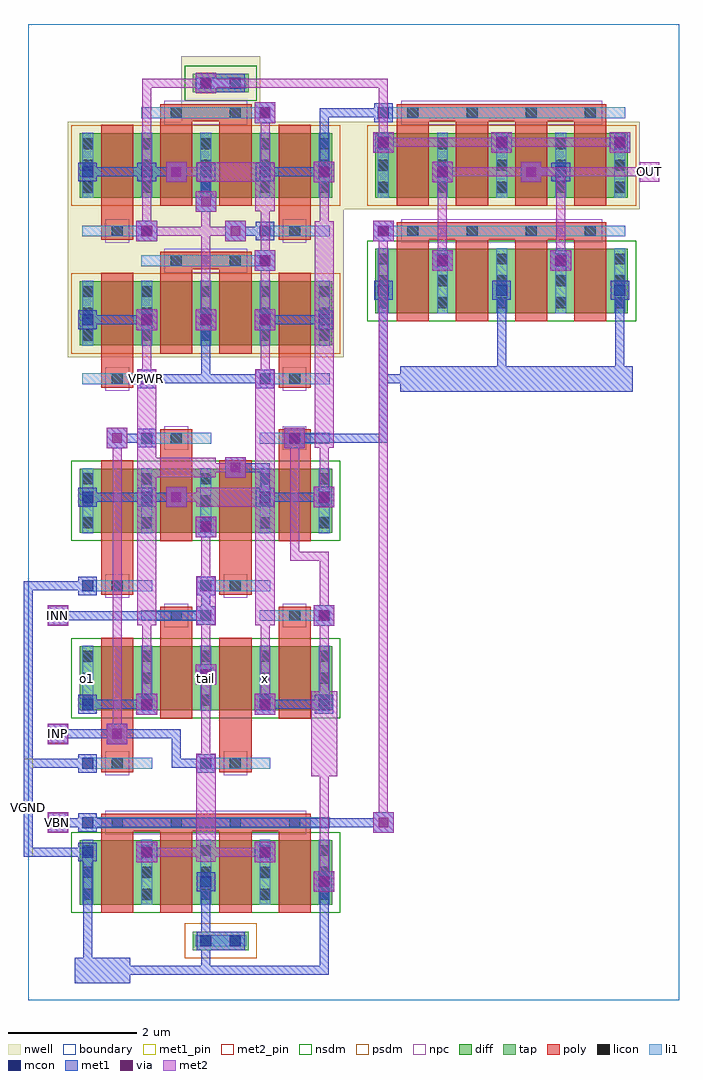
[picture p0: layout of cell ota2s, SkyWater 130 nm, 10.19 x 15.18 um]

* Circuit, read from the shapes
.subckt ota2s INN INP OUT VBN VGND VPWR o1 tail x
XM1 tail VBN VGND VGND sky130_fd_pr__nfet_01v8 w=1 l=0.5 m=4
XM2 o1 VGND o1 VGND sky130_fd_pr__nfet_01v8 w=1 l=0.5 m=2
XM3 x VGND x VGND sky130_fd_pr__nfet_01v8 w=1 l=0.5 m=2
XM4 tail INN o1 VGND sky130_fd_pr__nfet_01v8 w=1 l=0.5 m=2
XM5 tail INP x VGND sky130_fd_pr__nfet_01v8 w=1 l=0.5 m=2
XM6 OUT VBN VGND VGND sky130_fd_pr__nfet_01v8 w=1 l=0.5 m=4
XM7 o1 VPWR o1 VPWR sky130_fd_pr__pfet_01v8 w=1 l=0.5 m=2
XM8 x VPWR x VPWR sky130_fd_pr__pfet_01v8 w=1 l=0.5 m=2
XM9 VPWR x o1 VPWR sky130_fd_pr__pfet_01v8 w=1 l=0.5 m=2
XM10 VPWR x x VPWR sky130_fd_pr__pfet_01v8 w=1 l=0.5 m=2
XM11 OUT o1 VPWR VPWR sky130_fd_pr__pfet_01v8 w=1 l=0.5 m=4
.ends

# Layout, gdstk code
import gdstk
lib = gdstk.Library(unit=1e-6, precision=1e-09)
def R(c, l, rs):  # rectangles x0, y0, x1, y1
    for r in rs: c.add(gdstk.rectangle(r[:2], r[2:], *l))
def A(c, l, x, y, w, h, nx, ny, dx, dy):  # array of equal rectangles
    R(c, l, [(x+i*dx, y+j*dy, x+i*dx+w, y+j*dy+h) for i in range(nx) for j in range(ny)])
nwell = (64, 20)
diff = (65, 20)
tap = (65, 44)
poly = (66, 20)
licon = (66, 44)
li1 = (67, 20)
mcon = (67, 44)
met1_pin = (68, 16)
met1 = (68, 20)
via = (68, 44)
met2_pin = (69, 16)
met2 = (69, 20)
nsdm = (93, 44)
psdm = (94, 20)
npc = (95, 20)
boundary = (235, 4)

ota2s = lib.new_cell('ota2s')
R(ota2s, nwell, [(0.615,10,4.905,12.3), (0.615,12.3,9.505,13.66), (2.375,13.66,3.605,14.68)])
R(ota2s, diff, [(0.795,1.485,4.725,2.485), (0.795,4.505,4.725,5.505), (0.795,7.265,4.725,8.265), (0.795,10.18,4.725,11.18), (5.395,10.685,9.325,11.685), (0.795,12.48,4.725,13.48), (5.395,12.48,9.325,13.48)])
R(ota2s, tap, [(2.555,0.775,3.425,1.065), (2.555,14.115,3.425,14.405)])
A(ota2s, poly, 1.13, 1.355, 0.5, 1.405, 4, 1, 0.92, 0)
A(ota2s, poly, 5.73, 10.555, 0.5, 1.405, 4, 1, 0.92, 0)
A(ota2s, poly, 5.73, 12.35, 0.5, 1.45, 4, 1, 0.92, 0)
R(ota2s, poly, [(1.13,2.625,4.39,2.895), (1.13,3.545,1.63,3.815), (2.97,3.545,3.47,3.815), (1.13,3.68,1.63,5.635), (2.97,3.68,3.47,5.635), (2.05,4.375,2.55,5.98), (3.89,4.375,4.39,5.98), (2.05,5.845,2.55,6.115), (3.89,5.845,4.39,6.115), (1.13,6.305,1.63,6.575), (2.97,6.305,3.47,6.575), (1.13,6.44,1.63,8.395), (2.97,6.44,3.47,8.395), (2.05,7.135,2.55,8.74), (3.89,7.135,4.39,8.74), (2.05,8.605,2.55,8.875), (3.89,8.605,4.39,8.875), (1.13,9.525,1.63,9.795), (3.89,9.525,4.39,9.795), (1.13,9.66,1.63,11.31), (3.89,9.66,4.39,11.31), (2.05,10.05,2.55,11.5), (2.97,10.05,3.47,11.5), (2.05,11.365,3.47,11.635), (1.13,11.825,1.63,12.095), (3.89,11.825,4.39,12.095), (5.73,11.825,8.99,12.095), (1.13,11.96,1.63,13.61), (3.89,11.96,4.39,13.61), (2.05,12.35,2.55,13.8), (2.97,12.35,3.47,13.8), (2.05,13.665,3.47,13.935), (5.73,13.665,8.99,13.935)])
A(ota2s, licon, 3.135, 0.835, 0.17, 0.17, 1, 3, 0, 2.76)
A(ota2s, licon, 0.835, 1.56, 0.17, 0.17, 5, 3, 0.92, 0.34)
A(ota2s, licon, 1.295, 2.675, 0.17, 0.17, 4, 1, 0.92, 0)
A(ota2s, licon, 0.835, 4.58, 0.17, 0.17, 5, 3, 0.92, 0.34)
A(ota2s, licon, 2.215, 5.895, 0.17, 0.17, 1, 3, 0, 2.76)
A(ota2s, licon, 0.835, 7.34, 0.17, 0.17, 5, 3, 0.92, 0.34)
A(ota2s, licon, 0.835, 10.255, 0.17, 0.17, 5, 3, 0.92, 0.34)
A(ota2s, licon, 5.435, 10.76, 0.17, 0.17, 5, 3, 0.92, 0.34)
A(ota2s, licon, 5.895, 11.875, 0.17, 0.17, 4, 2, 0.92, 1.84)
A(ota2s, licon, 0.835, 12.555, 0.17, 0.17, 10, 3, 0.92, 0.34)
R(ota2s, licon, [(2.675,0.835,2.845,1.005), (1.295,3.595,1.465,3.765), (4.055,5.895,4.225,6.065), (1.295,6.355,1.465,6.525), (4.055,8.655,4.225,8.825), (1.295,9.575,1.465,9.745), (4.055,9.575,4.225,9.745), (3.135,11.415,3.305,11.585), (1.295,11.875,1.465,12.045), (4.055,11.875,4.225,12.045), (2.215,13.715,2.385,13.885), (3.135,13.715,3.305,13.885), (2.675,14.175,2.845,14.345), (3.135,14.175,3.305,14.345)])
A(ota2s, li1, 0.835, 1.48, 0.17, 1.01, 5, 2, 0.92, 3.02)
A(ota2s, li1, 0.835, 7.26, 0.17, 1.01, 5, 2, 0.92, 2.915)
A(ota2s, li1, 5.435, 10.68, 0.17, 1.01, 5, 1, 0.92, 0)
A(ota2s, li1, 0.835, 12.475, 0.17, 1.01, 10, 1, 0.92, 0)
R(ota2s, li1, [(2.595,0.835,3.385,1.005), (0.835,2.675,4.685,2.845), (0.835,3.595,1.925,3.765), (2.675,3.595,3.765,3.765), (1.755,5.895,2.845,6.065), (3.595,5.895,4.685,6.065), (0.835,6.355,1.925,6.525), (2.675,6.355,3.765,6.525), (1.755,8.655,2.845,8.825), (3.595,8.655,4.685,8.825), (0.835,9.575,1.925,9.745), (3.595,9.575,4.685,9.745), (1.755,11.415,3.765,11.585), (0.835,11.875,1.925,12.045), (3.595,11.875,4.685,12.045), (5.435,11.875,9.285,12.045), (1.755,13.715,3.765,13.885), (5.435,13.715,9.285,13.885), (2.595,14.175,3.385,14.345)])
A(ota2s, mcon, 0.835, 2.675, 0.17, 0.17, 1, 3, 0, 0.92)
A(ota2s, mcon, 1.755, 7.735, 0.17, 0.17, 1, 3, 0, 0.92)
A(ota2s, mcon, 3.595, 7.735, 0.17, 0.17, 1, 3, 0, 1.84)
A(ota2s, mcon, 0.835, 10.495, 0.17, 0.17, 5, 2, 0.92, 2.3)
A(ota2s, mcon, 5.435, 10.955, 0.17, 0.17, 3, 2, 1.84, 2.3)
A(ota2s, mcon, 1.755, 11.875, 0.17, 0.17, 3, 1, 1.84, 0)
R(ota2s, mcon, [(2.675,0.835,2.845,1.005), (3.135,0.835,3.305,1.005), (2.675,1.755,2.845,1.925), (4.515,1.755,4.685,1.925), (0.835,2.215,1.005,2.385), (1.755,2.215,1.925,2.385), (3.595,2.215,3.765,2.385), (2.675,3.595,2.845,3.765), (1.755,4.515,1.925,4.685), (3.595,4.515,3.765,4.685), (4.515,4.515,4.685,4.685), (2.675,4.975,2.845,5.145), (2.675,5.895,2.845,6.065), (4.515,5.895,4.685,6.065), (0.835,6.355,1.005,6.525), (2.675,6.355,2.845,6.525), (2.675,7.275,2.845,7.445), (0.835,7.735,1.005,7.905), (4.515,7.735,4.685,7.905), (4.055,8.655,4.225,8.825), (6.355,11.415,6.525,11.585), (8.195,11.415,8.365,11.585), (6.355,12.795,6.525,12.965), (8.195,12.795,8.365,12.965), (3.595,13.715,3.765,13.885), (5.435,13.715,5.605,13.885), (2.675,14.175,2.845,14.345), (3.135,14.175,3.305,14.345)])
R(ota2s, met1_pin, [(-0.07,2.23,0.07,3.75), (1.695,9.515,1.985,9.805)])
A(ota2s, met1, 0.775, 2.615, 0.29, 0.29, 1, 3, 0, 0.92)
A(ota2s, met1, 1.695, 7.675, 0.29, 0.29, 1, 3, 0, 0.92)
A(ota2s, met1, 3.535, 7.675, 0.29, 0.29, 1, 3, 0, 1.84)
A(ota2s, met1, 1.68, 10.42, 0.32, 0.32, 3, 1, 0.92, 0)
A(ota2s, met1, 0.775, 10.435, 0.29, 0.29, 5, 2, 0.92, 2.3)
A(ota2s, met1, 5.375, 10.895, 0.29, 0.29, 3, 2, 1.84, 2.3)
A(ota2s, met1, 1.695, 11.815, 0.29, 0.29, 3, 1, 1.84, 0)
A(ota2s, met1, 5.36, 13.18, 0.32, 0.32, 3, 1, 1.84, 0)
R(ota2s, met1, [(0.72,0.26,1.58,0.66), (0.85,0.39,0.99,2.37), (1.31,0.39,2.83,0.53), (2.69,0.39,4.67,0.53), (2.69,0.39,2.83,0.99), (4.53,0.39,4.67,1.91), (2.615,0.775,3.365,1.065), (2.69,0.85,2.83,1.91), (2.69,0.85,2.83,0.99), (4.44,1.68,4.76,2), (2.615,1.695,2.905,1.985), (4.455,1.695,4.745,1.985), (1.68,2.14,2,2.46), (3.52,2.14,3.84,2.46), (0.775,2.155,1.065,2.445), (1.695,2.155,1.985,2.445), (3.535,2.155,3.825,2.445), (-0.07,2.23,0.99,2.37), (-0.07,2.23,0.07,3.75), (0.3,2.6,0.62,2.92), (5.36,2.6,5.68,2.92), (0.39,2.69,0.99,2.83), (0.85,2.69,5.59,2.83), (2.615,3.535,2.905,3.825), (-0.07,3.61,0.99,3.75), (-0.07,3.61,0.07,6.51), (2.23,3.61,2.83,3.75), (2.23,3.61,2.37,4.21), (0.3,3.98,0.62,4.3), (1.22,3.98,1.54,4.3), (0.39,4.07,2.37,4.21), (1.68,4.44,2,4.76), (3.52,4.44,3.84,4.76), (1.695,4.455,1.985,4.745), (3.535,4.455,3.825,4.745), (4.455,4.455,4.745,4.745), (0.85,4.53,1.91,4.67), (3.61,4.53,4.67,4.67), (2.6,4.9,2.92,5.22), (2.615,4.915,2.905,5.205), (0.3,5.82,0.62,6.14), (4.44,5.82,4.76,6.14), (2.615,5.835,2.905,6.125), (4.455,5.835,4.745,6.125), (0.39,5.91,2.83,6.05), (2.69,5.91,2.83,6.51), (0.775,6.295,1.065,6.585), (2.615,6.295,2.905,6.585), (-0.07,6.37,0.99,6.51), (2.6,7.2,2.92,7.52), (2.615,7.215,2.905,7.505), (2.14,7.66,2.46,7.98), (4.44,7.66,4.76,7.98), (0.775,7.675,1.065,7.965), (4.455,7.675,4.745,7.965), (0.85,7.75,1.91,7.89), (1.77,7.75,2.37,7.89), (3.61,7.75,4.67,7.89), (3.61,7.75,3.75,8.35), (3.06,8.12,3.38,8.44), (3.15,8.21,3.75,8.35), (1.22,8.58,1.54,8.9), (3.98,8.58,4.3,8.9), (3.995,8.595,4.285,8.885), (1.31,8.67,1.91,8.81), (4.07,8.67,5.59,8.81), (5.45,8.67,5.59,11.11), (5.78,9.46,7.56,9.86), (7.16,9.46,9.4,9.86), (1.77,9.59,2.83,9.73), (2.69,9.59,3.75,9.73), (2.69,9.59,2.83,10.65), (5.45,9.59,6.05,9.73), (7.29,9.59,7.43,11.11), (9.13,9.59,9.27,11.11), (0.85,10.51,1.91,10.65), (3.61,10.51,4.67,10.65), (3.52,11.34,3.84,11.66), (6.28,11.34,6.6,11.66), (8.12,11.34,8.44,11.66), (6.295,11.355,6.585,11.645), (8.135,11.355,8.425,11.645), (1.68,11.8,2,12.12), (3.06,11.8,3.38,12.12), (5.36,11.8,5.68,12.12), (3.15,11.89,3.75,12.03), (2.6,12.26,2.92,12.58), (2.69,12.35,2.83,12.95), (2.14,12.72,2.46,13.04), (4.44,12.72,4.76,13.04), (6.28,12.72,6.6,13.04), (7.66,12.72,7.98,13.04), (6.295,12.735,6.585,13.025), (8.135,12.735,8.425,13.025), (0.85,12.81,1.91,12.95), (1.77,12.81,2.37,12.95), (3.61,12.81,4.67,12.95), (4.53,12.81,4.67,13.87), (7.75,12.81,8.35,12.95), (3.52,13.64,3.84,13.96), (3.535,13.655,3.825,13.945), (5.375,13.655,5.665,13.945), (4.53,13.73,5.59,13.87), (2.6,14.1,2.92,14.42), (2.615,14.115,3.365,14.405), (2.69,14.19,2.83,14.33)])
A(ota2s, via, 1.765, 10.505, 0.15, 0.15, 3, 1, 0.92, 0)
A(ota2s, via, 5.445, 13.265, 0.15, 0.15, 3, 1, 1.84, 0)
R(ota2s, via, [(4.525,1.765,4.675,1.915), (1.765,2.225,1.915,2.375), (3.605,2.225,3.755,2.375), (0.385,2.685,0.535,2.835), (5.445,2.685,5.595,2.835), (0.385,4.065,0.535,4.215), (1.305,4.065,1.455,4.215), (1.765,4.525,1.915,4.675), (3.605,4.525,3.755,4.675), (2.685,4.985,2.835,5.135), (0.385,5.905,0.535,6.055), (4.525,5.905,4.675,6.055), (2.685,7.285,2.835,7.435), (2.225,7.745,2.375,7.895), (4.525,7.745,4.675,7.895), (3.145,8.205,3.295,8.355), (1.305,8.665,1.455,8.815), (4.065,8.665,4.215,8.815), (3.605,11.425,3.755,11.575), (6.365,11.425,6.515,11.575), (8.205,11.425,8.355,11.575), (1.765,11.885,1.915,12.035), (3.145,11.885,3.295,12.035), (5.445,11.885,5.595,12.035), (2.685,12.345,2.835,12.495), (2.225,12.805,2.375,12.955), (4.525,12.805,4.675,12.955), (6.365,12.805,6.515,12.955), (7.745,12.805,7.895,12.955), (3.605,13.725,3.755,13.875), (2.685,14.185,2.835,14.335)])
R(ota2s, met2_pin, [(0.31,2.61,0.61,2.91), (0.31,3.99,0.61,4.29), (0.31,5.83,0.61,6.13), (9.51,12.73,9.81,13.03)])
A(ota2s, met2, 3.61, 9.59, 0.14, 1.06, 1, 3, 0, 0.92)
A(ota2s, met2, 1.68, 10.42, 0.32, 0.32, 3, 1, 0.92, 0)
A(ota2s, met2, 5.36, 13.18, 0.32, 0.32, 3, 1, 1.84, 0)
R(ota2s, met2, [(4.44,1.68,4.76,2), (4.53,1.77,4.67,3.75), (1.68,2.14,2,2.46), (3.52,2.14,3.84,2.46), (2.61,2.15,2.91,3.83), (1.77,2.23,2.83,2.37), (2.69,2.23,3.75,2.37), (0.3,2.6,0.62,2.92), (5.36,2.6,5.68,2.92), (0.31,2.61,0.61,2.91), (0.39,2.69,0.53,2.83), (5.45,2.69,5.59,12.03), (4.4,3.48,4.8,4.8), (2.69,3.61,2.83,5.13), (0.3,3.98,0.62,4.3), (1.22,3.98,1.54,4.3), (0.31,3.99,0.61,4.29), (0.39,4.07,0.53,4.21), (1.31,4.07,1.45,8.81), (1.68,4.44,2,4.76), (3.52,4.44,3.84,4.76), (1.77,4.53,1.91,6.05), (3.61,4.53,3.75,6.05), (4.53,4.53,4.67,6.05), (2.6,4.9,2.92,5.22), (2.69,4.99,2.83,6.05), (0.3,5.82,0.62,6.14), (4.44,5.82,4.76,6.14), (0.31,5.83,0.61,6.13), (1.69,5.83,1.99,9.81), (2.61,5.83,2.91,6.59), (3.53,5.83,3.83,9.81), (0.39,5.91,0.53,6.05), (4.53,5.91,4.67,6.97), (2.69,6.37,2.83,7.43), (4.07,6.83,4.67,6.97), (4.07,6.83,4.21,8.81), (2.6,7.2,2.92,7.52), (2.14,7.66,2.46,7.98), (4.44,7.66,4.76,7.98), (2.61,7.67,3.83,7.97), (2.23,7.75,2.83,7.89), (4.53,7.75,4.67,8.81), (3.06,8.12,3.38,8.44), (1.69,8.13,2.91,8.43), (2.69,8.21,3.29,8.35), (1.22,8.58,1.54,8.9), (3.98,8.58,4.3,8.9), (4.45,8.59,4.75,12.11), (1.77,9.59,1.91,10.65), (2.69,10.51,2.83,12.49), (3.52,11.34,3.84,11.66), (6.28,11.34,6.6,11.66), (8.12,11.34,8.44,11.66), (6.37,11.43,6.51,12.95), (8.21,11.43,8.35,12.95), (1.68,11.8,2,12.12), (3.06,11.8,3.38,12.12), (5.36,11.8,5.68,12.12), (1.77,11.89,2.83,12.03), (1.77,11.89,1.91,14.33), (2.69,11.89,3.29,12.03), (4.53,11.89,4.67,12.95), (2.6,12.26,2.92,12.58), (3.53,12.27,3.83,13.03), (2.14,12.72,2.46,13.04), (4.44,12.72,4.76,13.04), (6.28,12.72,6.6,13.04), (7.66,12.72,7.98,13.04), (2.61,12.73,3.83,13.03), (9.51,12.73,9.81,13.03), (2.23,12.81,2.83,12.95), (3.61,12.81,3.75,13.87), (6.37,12.81,7.89,12.95), (7.75,12.81,9.73,12.95), (9.59,12.81,9.73,12.95), (5.45,13.27,5.59,14.33), (5.45,13.27,7.43,13.41), (7.29,13.27,9.27,13.41), (3.52,13.64,3.84,13.96), (2.6,14.1,2.92,14.42), (1.77,14.19,2.83,14.33), (2.69,14.19,5.59,14.33)])
R(ota2s, nsdm, [(0.67,1.36,4.85,2.61), (0.67,4.38,4.85,5.63), (0.67,7.14,4.85,8.39), (5.27,10.56,9.45,11.81), (2.43,13.99,3.55,14.53)])
R(ota2s, psdm, [(2.43,0.65,3.55,1.19), (0.67,10.055,4.85,11.305), (0.67,12.355,4.85,13.605), (5.27,12.355,9.45,13.605)])
R(ota2s, npc, [(1.195,2.575,4.325,2.945), (1.195,3.495,1.565,3.865), (3.035,3.495,3.405,3.865), (2.115,5.795,2.485,6.165), (3.955,5.795,4.325,6.165), (1.195,6.255,1.565,6.625), (3.035,6.255,3.405,6.625), (2.115,8.555,2.485,8.925), (3.955,8.555,4.325,8.925), (1.195,9.475,1.565,9.845), (3.955,9.475,4.325,9.845), (2.115,11.315,3.405,11.685), (1.195,11.775,1.565,12.145), (3.955,11.775,4.325,12.145), (5.795,11.775,8.925,12.145), (2.115,13.615,3.405,13.985), (5.795,13.615,8.925,13.985)])
R(ota2s, boundary, [(0,0,10.12,15.18)])
ota2s.add(gdstk.Label('o1', (0.92,5.005), layer=67, texttype=5))
ota2s.add(gdstk.Label('tail', (2.76,5.005), layer=67, texttype=5))
ota2s.add(gdstk.Label('x', (3.68,5.005), layer=67, texttype=5))
ota2s.add(gdstk.Label('VPWR', (1.84,9.66), layer=68, texttype=5))
ota2s.add(gdstk.Label('VGND', (0,2.99), layer=68, texttype=5))
ota2s.add(gdstk.Label('INP', (0.46,4.14), layer=69, texttype=5))
ota2s.add(gdstk.Label('INN', (0.46,5.98), layer=69, texttype=5))
ota2s.add(gdstk.Label('VBN', (0.46,2.76), layer=69, texttype=5))
ota2s.add(gdstk.Label('OUT', (9.66,12.88), layer=69, texttype=5))
ota2s.add(gdstk.Label('VPWR', (1.84,9.66), layer=68, texttype=16))
ota2s.add(gdstk.Label('VGND', (0,2.99), layer=68, texttype=16))
ota2s.add(gdstk.Label('INP', (0.46,4.14), layer=69, texttype=16))
ota2s.add(gdstk.Label('INN', (0.46,5.98), layer=69, texttype=16))
ota2s.add(gdstk.Label('VBN', (0.46,2.76), layer=69, texttype=16))
ota2s.add(gdstk.Label('OUT', (9.66,12.88), layer=69, texttype=16))

lib.write_gds('ota2s.gds')
